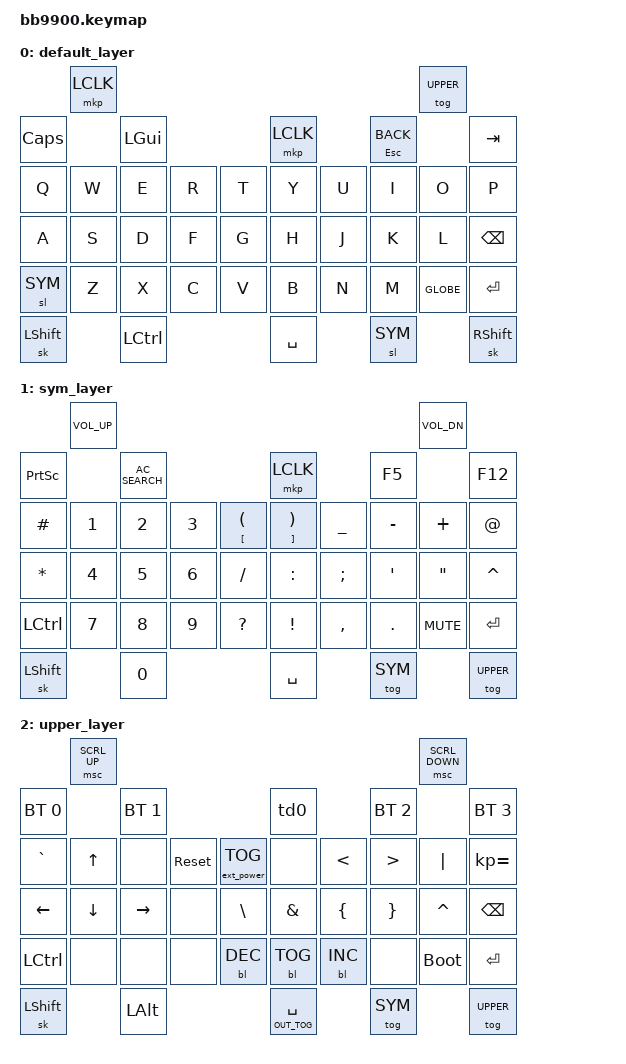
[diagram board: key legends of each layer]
/*
 * Copyright (c) 2023 ZitaoTech
 *
 * SPDX-License-Identifier: MIT
 */
   
#include <behaviors.dtsi>
#include <dt-bindings/zmk/keys.h>
#include <dt-bindings/zmk/bt.h>
#include <dt-bindings/zmk/outputs.h>
#include <dt-bindings/zmk/mouse.h>
#include <dt-bindings/zmk/backlight.h>
#include <dt-bindings/zmk/ext_power.h>
#include <behaviors/sticky_key.dtsi>


#define SYM 1
#define UPPER 2

/ {
    behaviors {
        td0: tap_dance_0 {
            compatible = "zmk,behavior-tap-dance";
            #binding-cells = <0>;
            tapping-term-ms = <400>;
            bindings = <&mkp LCLK>, <&bt BT_CLR>;
        };
    };
    behaviors {
        hm: homerow_mods {
            compatible = "zmk,behavior-hold-tap";
            #binding-cells = <2>;
            tapping-term-ms = <500>;
            bindings = <&out &kp>;
        };
    };

    keymap {
        compatible = "zmk,keymap";

        default_layer {

            bindings = <
//         --------------------------------------------------------------------------------------------------------------------------         
//         |    Shoulder Key1    |                                                                             |    Shoulder Key2    |     
// |         Call key      |      Blackberry Key        |    Trackpad    |             Back Key                |             Endcall Key          |
// |     Q      |     W    |     E    |     R    |      T      |       Y        |       U        |        I        |       O      |      P        |     
// |     A      |     S    |     D    |     F    |      G      |       H        |       J        |        K        |       L      |      ←        |  
// |     alt    |     Z    |     X    |     C    |      V      |       B        |       N        |        M        |       $      |    Enter      |   
//        |         aA     |         0           |           SPACE              |         SYM         |        aA          |       
//        -----------------------------------------------------------------------------------------------------------------

                 &mkp LCLK                                                                                          &tog UPPER
    &kp CLCK                &kp LGUI                            &mkp LCLK                          &mt ESC K_BACK                    &kp TAB
    &kp Q        &kp W      &kp E       &kp R     &kp T         &kp Y             &kp U            &kp I            &kp O            &kp P
    &kp A        &kp S      &kp D       &kp F     &kp G         &kp H             &kp J            &kp K            &kp L            &kp BSPC
    &sl SYM    &kp Z      &kp X       &kp C     &kp V         &kp B             &kp N            &kp M            &kp GLOBE         &kp ENTER
    &sk LSHFT               &kp LCTRL                            &kp SPACE                          &sl SYM                          &sk RSHFT
            >;
        };


        sym_layer {

            bindings = <        
                 &kp C_VOL_UP                                                                                       &kp C_VOL_DN
    &kp PSCRN               &kp C_AC_SEARCH                     &mkp LCLK                          &kp F5                            &kp F12 
    &kp HASH     &kp N1     &kp N2      &kp N3    &mt LBKT LPAR &mt RBKT RPAR     &kp UNDER        &kp MINUS        &kp PLUS         &kp AT
    &kp STAR     &kp N4     &kp N5      &kp N6    &kp SLASH     &kp COLON         &kp SEMI         &kp APOS         &kp DQT          &kp CARET
    &kp LCTRL    &kp N7     &kp N8      &kp N9    &kp QMARK     &kp EXCL          &kp COMMA        &kp DOT          &kp C_MUTE       &kp ENTER
    &sk LSHFT               &kp N0                              &kp SPACE                          &tog SYM                          &tog UPPER
            >;
        };

        upper_layer {

            bindings = <
                 &msc SCRL_UP                                                                                       &msc SCRL_DOWN
    &bt BT_SEL 0            &bt BT_SEL 1                             &td0                           &bt BT_SEL 2                     &bt BT_SEL 3
    &kp GRAVE    &kp UP     &none       &sys_reset &ext_power EP_TOG &none         &kp LT           &kp GT          &kp PIPE         &kp KP_EQUAL
    &kp LEFT     &kp DOWN   &kp RIGHT   &none      &kp BSLH          &kp AMPS      &kp LBRC         &kp RBRC        &kp CARET        &kp BSPC
    &kp LCTRL    &none      &none       &none      &bl BL_DEC        &bl BL_TOG    &bl BL_INC       &none           &bootloader      &kp ENTER
    &sk LSHFT               &kp LALT                                 &hm OUT_TOG SPACE              &tog SYM                         &tog UPPER
            >;
        };
    };
};

